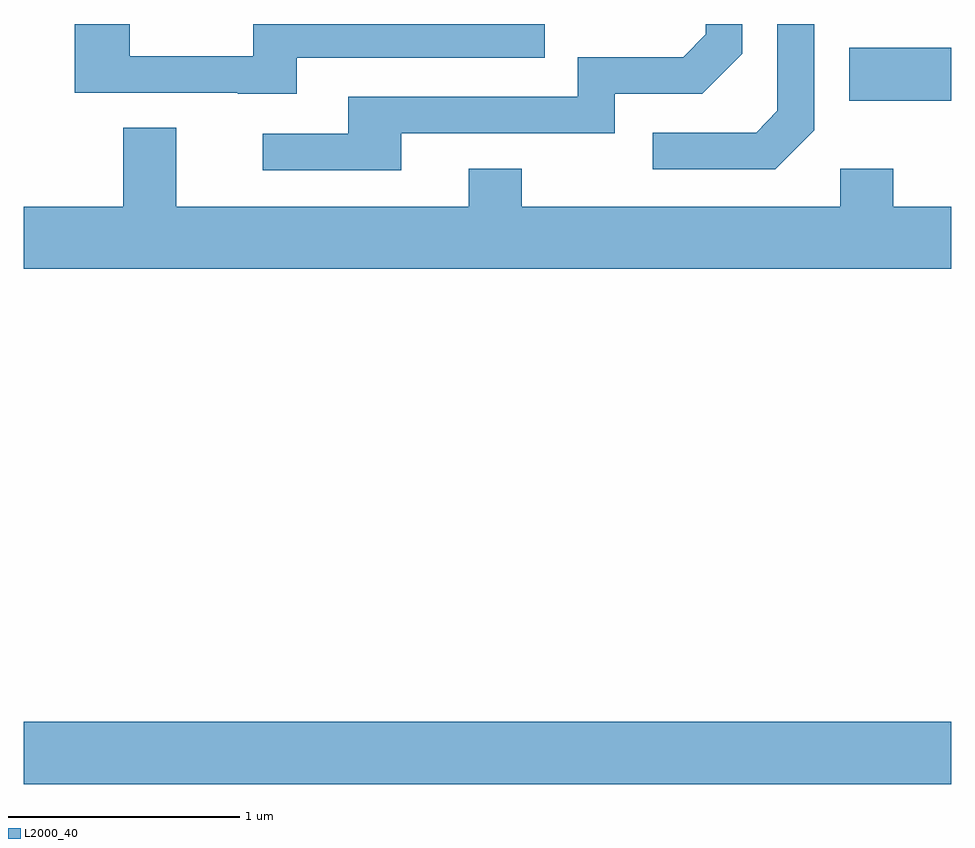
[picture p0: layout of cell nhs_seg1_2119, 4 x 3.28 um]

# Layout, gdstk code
import gdstk
lib = gdstk.Library(unit=1e-6, precision=1e-09)
def R(c, l, rs):  # rectangles x0, y0, x1, y1
    for r in rs: c.add(gdstk.rectangle(r[:2], r[2:], *l))
def P(c, l, *ps):  # polygons
    for p in ps: c.add(gdstk.Polygon(p, *l))
L2000_40 = (2000, 40)

nhs_seg1_2119 = lib.new_cell('nhs_seg1_2119')
R(nhs_seg1_2119, L2000_40, [(249.611,928.436,253.611,928.704), (253.171,931.381,253.611,931.609)])
P(nhs_seg1_2119, L2000_40, [(250.789,931.566),(251.858,931.566),(251.858,931.712),(250.601,931.712),(250.601,931.574),(250.069,931.574),(250.069,931.712),(249.831,931.712),(249.831,931.416),(250.535,931.416),(250.535,931.411),(250.789,931.411)],
  [(251.239,931.241),(252.159,931.241),(252.159,931.411),(252.537,931.411),(252.709,931.584),(252.709,931.712),(252.551,931.712),(252.551,931.667),(252.454,931.569),(252.001,931.569),(252.001,931.399),(251.011,931.399),(251.011,931.239),(250.643,931.239),(250.643,931.081),(251.239,931.081)],
  [(253.019,931.254),(253.019,931.712),(252.861,931.712),(252.861,931.337),(252.769,931.244),(252.323,931.244),(252.323,931.086),(252.852,931.086)],
  [(253.611,930.924),(253.359,930.924),(253.359,931.089),(253.131,931.089),(253.131,930.924),(251.759,930.924),(251.759,931.089),(251.531,931.089),(251.531,930.924),(250.269,930.924),(250.269,931.264),(250.041,931.264),(250.041,930.924),(249.611,930.924),(249.611,930.656),(253.611,930.656)])

lib.write_gds('nhs_seg1_2119.gds')
